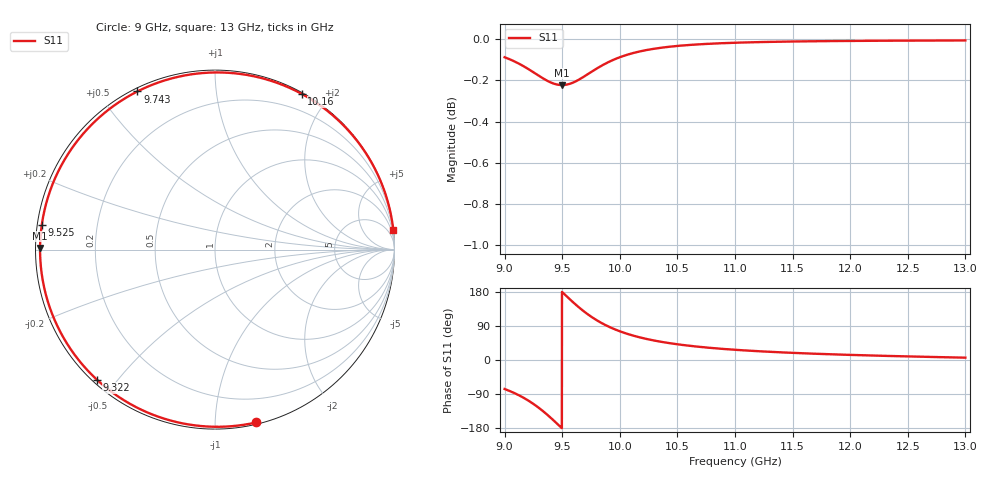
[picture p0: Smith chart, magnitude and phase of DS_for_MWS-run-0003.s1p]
! TOUCHSTONE file generated by CST DESIGN STUDIO
! Date and time: Tue Feb  4 15:47:13 2025
! Project name: C:\Work\MatlabApps\UnitCellOptimizationMatlab\CST\unitcell.cst
! Tree item: Tasks\Sweep1\SPara1\S-Parameters
! Header version: 2024
! Port assignment regex: !\s*Touchstone port\s*([0-9]+)\s*=\s*(CST MWS port|CST DES external port|CST DES block port)\s*(.+)\s* \(\"(.*)\"\)(\s*mode\s*([0-9]+))?.*
! Touchstone port assignment:
! Touchstone port 1 = CST DES external port 1 ("")
# GHz S MA R 50
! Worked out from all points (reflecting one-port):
!   4001 points, 9 GHz to 13 GHz, reference 50 ohm
!   lowest |S11| = -0.2 dB at 9.499 GHz (marker M1), VSWR 78.18, Z = 0.64 + j0.232 ohm
!   phase of S11 starts at -77 deg and turns -277 deg over the sweep
!   S11 on the Smith chart (normalised r, x): 9 GHz: 0.01, -1.27; 9.322 GHz: 0.01, -0.44; 9.525 GHz: 0.01, +0.07; 9.743 GHz: 0.01, +0.62; 10.16 GHz: 0.01, +1.70; 13 GHz: 0, +19
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9  0.99 -76.5
9.084  0.9878 -87.2
9.185  0.9843 -103.2
9.256  0.9815 -117.2
9.322  0.9788 -132.2
9.369  0.9771 -144.1
9.419  0.9757 -157.6
9.46  0.975 -169.3
9.499  0.9747 179.5
9.5  0.9747 179.2
9.525  0.9748 171.9
9.579  0.9757 156.6
9.639  0.9775 140.5
9.69  0.9794 127.9
9.743  0.9815 116.1
9.796  0.9837 105.6
9.854  0.9858 95.6
9.926  0.9881 84.9
10  0.99 75.8
10.158  0.993 60.9
10.313  0.9949 50.5
10.5  0.9963 41.5
10.722  0.9973 33.8
11  0.9981 26.9
11.5  0.9988 18.8
12  0.9991 13.4
12.5  0.9993 9.4
13  0.9994 6.2
